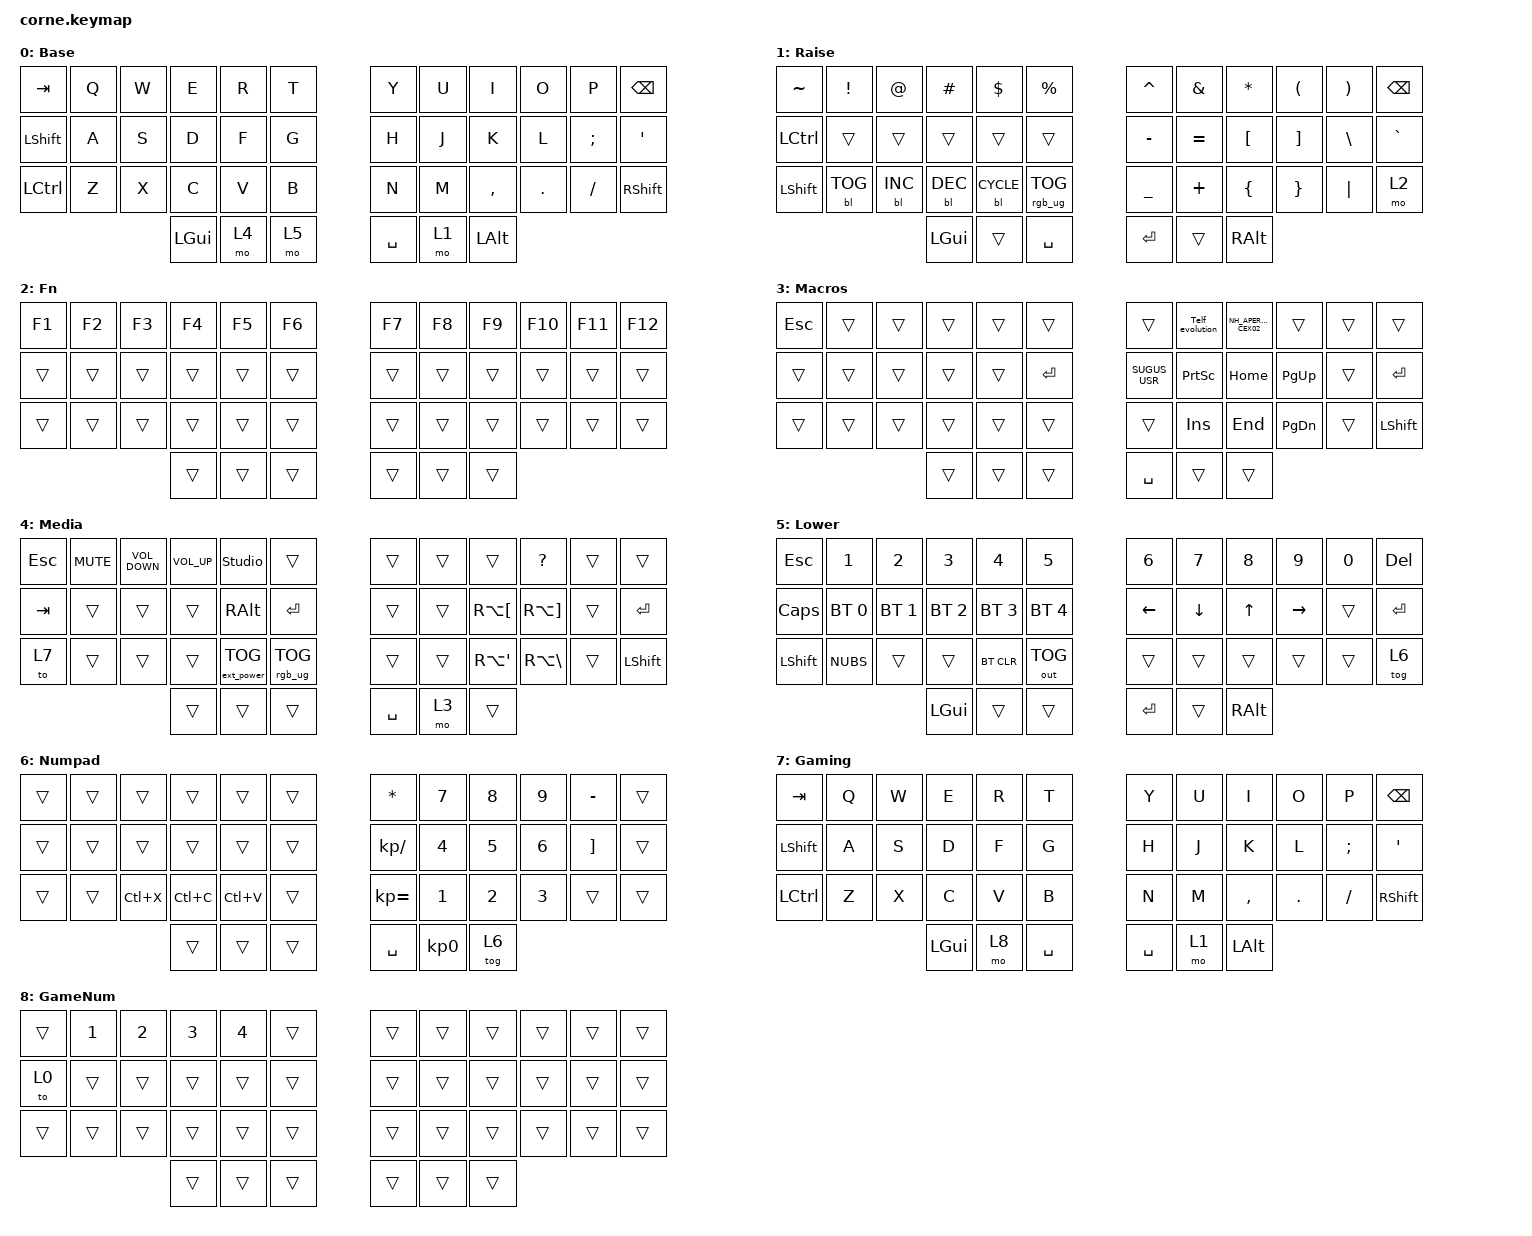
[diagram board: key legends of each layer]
/*
 * Copyright (c) 2020 The ZMK Contributors
 *
 * SPDX-License-Identifier: MIT
 */

#include <behaviors.dtsi>
#include <dt-bindings/zmk/backlight.h>
#include <dt-bindings/zmk/bt.h>
#include <dt-bindings/zmk/ext_power.h>
#include <dt-bindings/zmk/keys.h>
#include <dt-bindings/zmk/outputs.h>
#include <dt-bindings/zmk/rgb.h>

&nice_view_spi { cs-gpios = <&pro_micro 9 GPIO_ACTIVE_HIGH>; };

/ {
    macros {
        Telf_evolution: NH_EVOLUTION {
            compatible = "zmk,behavior-macro";
            #binding-cells = <0>;
            bindings = <&kp LS(I) &kp N &kp F &kp O &kp R &kp M &kp A &kp M &kp O &kp S &kp SPACE &kp A &kp SPACE &kp D &kp E &kp SPACE &kp L &kp A &kp SPACE &kp E &kp O &kp V &kp L &kp U &kp C &kp I &kp O &kp N &kp SPACE &kp D &kp E &kp SPACE &kp L &kp A &kp SPACE &kp I &kp N &kp C &kp I &kp D &kp E &kp N &kp C &kp I &kp A>;
            label = "NH_EVOLUTION";
        };

        NH_APERTURA_CEX02: NH_APERTURA {
            compatible = "zmk,behavior-macro";
            #binding-cells = <0>;
            bindings = <&kp LS(D) &kp E &kp T &kp E &kp C &kp T &kp A &kp M &kp O &kp S &kp SPACE &kp P &kp E &kp R &kp D &kp I &kp D &kp A &kp SPACE &kp D &kp E &kp SPACE &kp C &kp O &kp N &kp E &kp C &kp T &kp I &kp V &kp I &kp D &kp A &kp D &kp SPACE &kp C &kp O &kp N &kp SPACE &kp E &kp L &kp SPACE &kp E &kp Q &kp U &kp I &kp P &kp O &kp SPACE &kp E &kp N &kp SPACE &kp S &kp E &kp D &kp E &kp SPACE &kp V &kp I &kp A &kp SPACE &kp LS(A) &kp LS(S) &kp LS(T) &kp LS(R) &kp LS(O) &kp DOT>;
            label = "NH_APERTURA";
        };


        SUGUS_USR: SUGUS {
            compatible = "zmk,behavior-macro";
            #binding-cells = <0>;
            bindings = <&none &kp LS(W) &kp LS(U) &kp LS(E) &kp LS(A) &kp LS(R) &kp LS(O) &kp N6 &kp N5>;
            label = "SUGUS";
        };

    };

    keymap {
        compatible = "zmk,keymap";

        default_layer {
            display-name = "Base";
            // -----------------------------------------------------------------------------------------
            // |  ESC |  Q  |  W  |  E  |  R  |  T  |   |  Y  |  U   |  I  |  O  |  P  | BKSP |
            // | CTRL |  A  |  S  |  D  |  F  |  G  |   |  H  |  J   |  K  |  L  |  Ñ  |  '   |
            // | SHFT |  Z  |  X  |  C  |  V  |  B  |   |  N  |  M   |  ,  |  .  |  -  | SHFT  |
            //                    | GUI | LWR | SPC |   | ENT | RSE  | ALT |

            bindings = <
&kp TAB           &kp Q  &kp W  &kp E     &kp R  &kp T    &kp Y      &kp U  &kp I         &kp O    &kp P     &kp BSPC
&kp LEFT_SHIFT    &kp A  &kp S  &kp D     &kp F  &kp G    &kp H      &kp J  &kp K         &kp L    &kp SEMI  &kp SQT
&kp LEFT_CONTROL  &kp Z  &kp X  &kp C     &kp V  &kp B    &kp N      &kp M  &kp COMMA     &kp DOT  &kp FSLH  &kp RSHFT
                                &kp LGUI  &mo 4  &mo 5    &kp SPACE  &mo 1  &kp LEFT_ALT
            >;
        };

        raise_layer {
            display-name = "Raise";
            // -----------------------------------------------------------------------------------------
            // |  TAB |  !  |  @  |  #  |  $  |  %  |   |  ^  |  &  |  *  |  (  |  )  | BKSP |
            // | CTRL |     |     |     |     |     |   |  -  |  =  |  [  |  ]  |  \  |  `   |
            // | SHFT |     |     |     |     |     |   |  _  |  +  |  {  |  }  | "|" |  ~   |
            //                    | GUI |     | SPC |   | ENT |     | ALT |

            bindings = <
&kp TILDE  &kp EXCL    &kp AT      &kp HASH    &kp DLLR      &kp PRCNT          &kp CARET  &kp AMPS   &kp ASTRK      &kp LPAR  &kp RPAR  &kp BSPC
&kp LCTRL  &trans      &trans      &trans      &trans        &trans             &kp MINUS  &kp EQUAL  &kp LBKT       &kp RBKT  &kp BSLH  &kp GRAVE
&kp LSHFT  &bl BL_TOG  &bl BL_INC  &bl BL_DEC  &bl BL_CYCLE  &rgb_ug RGB_TOG    &kp UNDER  &kp PLUS   &kp LBRC       &kp RBRC  &kp PIPE  &mo 2
                                   &kp LGUI    &trans        &kp SPACE          &kp RET    &trans     &kp RIGHT_ALT
            >;
        };

        functions {
            display-name = "Fn";
            bindings = <
&kp F1  &kp F2  &kp F3  &kp F4  &kp F5  &kp F6    &kp F7  &kp F8  &kp F9  &kp F10  &kp F11  &kp F12
&trans  &trans  &trans  &trans  &trans  &trans    &trans  &trans  &trans  &trans   &trans   &trans
&trans  &trans  &trans  &trans  &trans  &trans    &trans  &trans  &trans  &trans   &trans   &trans
                        &trans  &trans  &trans    &trans  &trans  &trans
            >;
        };

        layer_7 {
            display-name = "Macros";
            bindings = <
&kp ESCAPE  &trans  &trans  &trans  &trans  &trans       &trans       &Telf_evolution  &NH_APERTURA_CEX02  &trans         &trans  &trans
&trans      &trans  &trans  &trans  &trans  &kp ENTER    &SUGUS_USR   &kp PRINTSCREEN  &kp HOME            &kp PAGE_UP    &trans  &kp ENTER
&trans      &trans  &trans  &trans  &trans  &trans       &trans        &kp INSERT       &kp END             &kp PAGE_DOWN  &trans  &kp LEFT_SHIFT
                            &trans  &trans  &trans       &kp SPACE    &trans           &trans
            >;
        };

        layer_3 {
            display-name = "Media";
            bindings = <
&kp ESCAPE  &kp C_MUTE  &kp C_VOLUME_DOWN  &kp C_VOLUME_UP  &studio_unlock             &trans             &trans     &trans  &trans                &kp QUESTION           &trans  &trans
&kp TAB     &trans      &trans             &trans           &kp RIGHT_ALT      &kp ENTER          &trans     &trans  &kp RA(LEFT_BRACKET)  &kp RA(RIGHT_BRACKET)  &trans  &kp ENTER
&to 7       &trans      &trans             &trans           &ext_power EP_TOG  &rgb_ug RGB_TOG    &trans     &trans  &kp RA(SQT)           &kp RA(BSLH)           &trans  &kp LEFT_SHIFT
                                           &trans           &trans             &trans             &kp SPACE  &mo 3   &trans
            >;
        };

        lower_layer {
            display-name = "Lower";
            // -----------------------------------------------------------------------------------------
            // |  TAB |  1  |  2  |  3  |  4  |  5  |   |  6  |  7  |  8  |  9  |  0  | BKSP |
            // | BTCLR| BT1 | BT2 | BT3 | BT4 | BT5 |   | LFT | DWN |  UP | RGT |     |      |
            // | SHFT |     |     |     |     |     |   |     |     |     |     |     |      |
            //                    | GUI |     | SPC |   | ENT |     | ALT |

            bindings = <
&kp ESCAPE  &kp N1        &kp N2        &kp N3        &kp N4        &kp N5          &kp N6    &kp N7    &kp N8    &kp N9     &kp N0  &kp DELETE
&kp CAPS    &bt BT_SEL 0  &bt BT_SEL 1  &bt BT_SEL 2  &bt BT_SEL 3  &bt BT_SEL 4    &kp LEFT  &kp DOWN  &kp UP    &kp RIGHT  &trans  &kp ENTER
&kp LSHFT   &kp NUBS      &trans        &trans        &bt BT_CLR    &out OUT_TOG    &trans    &trans    &trans    &trans     &trans  &tog 6
                                        &kp LGUI      &trans        &trans          &kp RET   &trans    &kp RALT
            >;
        };

        numbers {
            display-name = "Numpad";
            bindings = <
&trans  &trans  &trans     &trans     &trans     &trans    &kp ASTERISK   &kp N7           &kp N8  &kp N9  &kp MINUS  &trans
&trans  &trans  &trans     &trans     &trans     &trans    &kp KP_DIVIDE  &kp N4           &kp N5  &kp N6  &kp RBKT   &trans
&trans  &trans  &kp LC(X)  &kp LC(C)  &kp LC(V)  &trans    &kp KP_EQUAL   &kp NUMBER_1     &kp N2  &kp N3  &trans     &trans
                           &trans     &trans     &trans    &kp SPACE      &kp KP_NUMBER_0  &tog 6
            >;
        };

        gaming {
            display-name = "Gaming";
            bindings = <
&kp TAB           &kp Q  &kp W  &kp E     &kp R  &kp T        &kp Y      &kp U  &kp I         &kp O    &kp P     &kp BSPC
&kp LEFT_SHIFT    &kp A  &kp S  &kp D     &kp F  &kp G        &kp H      &kp J  &kp K         &kp L    &kp SEMI  &kp SQT
&kp LEFT_CONTROL  &kp Z  &kp X  &kp C     &kp V  &kp B        &kp N      &kp M  &kp COMMA     &kp DOT  &kp FSLH  &kp RSHFT
                                &kp LGUI  &mo 8  &kp SPACE    &kp SPACE  &mo 1  &kp LEFT_ALT
            >;
        };

        gaming_numbers {
            display-name = "GameNum";
            bindings = <
&trans  &kp N1  &kp N2  &kp N3  &kp N4  &trans    &trans  &trans  &trans  &trans  &trans  &trans
&to 0   &trans  &trans  &trans  &trans  &trans    &trans  &trans  &trans  &trans  &trans  &trans
&trans  &trans  &trans  &trans  &trans  &trans    &trans  &trans  &trans  &trans  &trans  &trans
                        &trans  &trans  &trans    &trans  &trans  &trans
            >;
        };
    };
};
